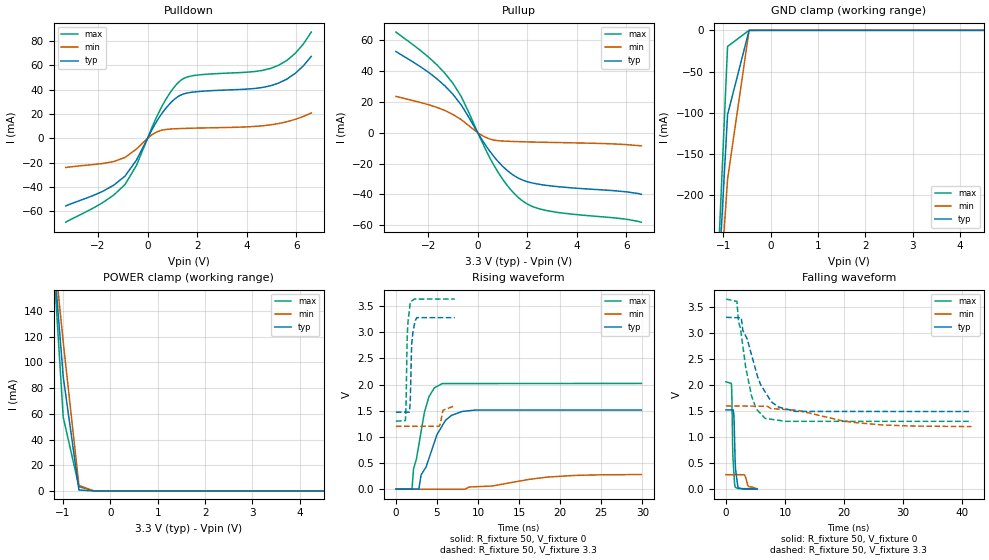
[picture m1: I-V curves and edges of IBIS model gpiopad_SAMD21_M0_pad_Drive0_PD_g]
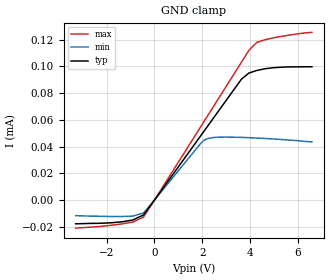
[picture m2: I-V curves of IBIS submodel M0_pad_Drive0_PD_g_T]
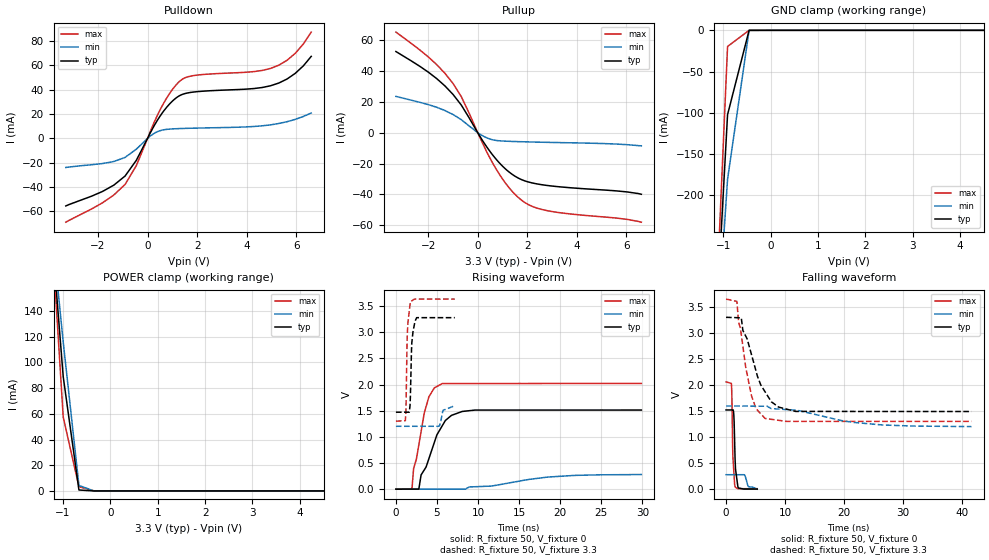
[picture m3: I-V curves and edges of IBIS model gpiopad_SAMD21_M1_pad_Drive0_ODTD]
|   - ATMEL Microcontrollers -
|   IBIS model for SAMD21_QFN32
[IBIS Ver]   4.2
[Comment char]  |_char
[File Name]   samd21_3m32.ibs
[File Rev]   1.1
[Date]   16-SEP-2015 11:10:01
[Source]   By GENIBIS V3.6 - GENerate chip IBIS model - 11-SEP-2015
[Notes]   Property of ATMEL Corporation
[Disclaimer]
                  (C) Copyright ATMEL Nantes 2002-2015
Atmel Nantes makes no warranty for the use of its products, other than
those expressly contained in the Company's standard warranty which is detailed
in Atmel's Terms and Conditions located on the Company's web site. The Company
assumes no responsability for any errors which may appear in this document.
The user is granted this license only to use the IBIS model and is not granted
rights to sell, load, rent, lease or license the IBIS model in whole or in part,
or in modified form to anyone other than user. User may modify the IBIS model
to suit its specific applications but rights to derivative works and such
modifications shall belong to Atmel Nantes.
This IBIS model is provided on an \"AS IS\" basis and Atmel Nantes makes
absolutely no warranty with respect to the information contained herein.
[Copyright]   Copyright (c) 2002-2015 by ATMEL Nantes SA
|   COMPONENT : SAMD21_QFN32
[Component]   SAMD21_QFN32
[Manufacturer]  ATMEL Nantes SAS
[Package]
| Package family : QFN
| RLC file   : V1.0
| RLCEDIT tool   : V1.11-2008/10/21
| variable   typ   min   max
R_pkg   60.38m   355.20u   128.60m
L_pkg   449.13p   11.48p   946.62p
C_pkg   37.40f   34.11f   45.49f
[Pin]   signal_name   model_name   R_pin   L_pin   C_pin
|   Real model names   <--->   IBIS model names
|   gpiopadrw100m33v3p66k25   gpiopad_SAMD21
|   gpiopadrw100m33v3p66k25   gpiopad_SAMD21
|   gpiopadrw100m33v3p66k25   gpiopad_SAMD21
|   gpiopadrw100m33v3p66k25   gpiopad_SAMD21
|   gpiopadrw100m33v3p66k25   gpiopad_SAMD21
|   gpiopadrw100m33v3p66k25   gpiopad_SAMD21
| gpiopadrtwihsmw100m33v3p66k25   gpiopadtwi_SAMD21
| gpiopadrtwihsmw100m33v3p66k25   gpiopadtwi_SAMD21
| gpiopadrtwihsmw100m33v3p66k25   gpiopadtwi_SAMD21
| gpiopadrtwihsmw100m33v3p66k25   gpiopadtwi_SAMD21
| gpiopadrtwihsmw100m33v3p66k25   gpiopadtwi_SAMD21
| gpiopadrtwihsmw100m33v3p66k25   gpiopadtwi_SAMD21
| gpiopadrtwihsmw100m33v3p66k25   gpiopadtwi_SAMD21
| gpiopadrtwihsmw100m33v3p66k25   gpiopadtwi_SAMD21
| gpiopadrtwihsmw100m33v3p66k25   gpiopadtwi_SAMD21
   1   PA00   gpiopad_SAMD21   58.78m  437.52p   36.21f
   2   PA01   gpiopad_SAMD21   41.55m  311.87p   35.26f
   3   PA02   gpiopad_SAMD21   38.58m  290.25p   35.10f
   4   PA03   gpiopad_SAMD21   46.11m  345.07p   36.41f
   5   PA04   gpiopad_SAMD21   60.68m  451.25p   37.21f
   6   PA05   gpiopad_SAMD21   43.69m  327.47p   35.38f
   7   PA06   gpiopad_SAMD21   39.92m  299.98p   35.17f
   8   PA07   gpiopad_SAMD21   55.05m  410.30p   36.00f
   9   VDDANA   POWER   23.84m  182.76p   44.60f
   10   GND   GND   67.89m  503.89p   36.71f
   11   PA08   gpiopadtwi_SAMD21   72.88m  540.28p   36.98f
   12   PA09   gpiopadtwi_SAMD21   84.32m  623.71p   37.61f
   13   PA10   gpiopad_SAMD21  103.52m  763.70p   38.66f
   14   PA11   gpiopad_SAMD21  128.60m  946.48p   40.04f
   15   PA14   gpiopad_SAMD21   67.96m  504.44p   36.71f
   16   PA15   gpiopad_SAMD21   68.94m  511.56p   36.76f
   17   PA16   gpiopadtwi_SAMD21   71.68m  531.59p   36.91f
   18   PA17   gpiopadtwi_SAMD21   51.77m  386.39p   35.82f
   19   PA18   gpiopad_SAMD21   39.85m  299.48p   35.17f
   20   PA19   gpiopad_SAMD21   48.27m  360.86p   35.63f
   21   PA22   gpiopadtwi_SAMD21   40.62m  305.11p   35.21f
   22   PA23   gpiopadtwi_SAMD21   52.06m  388.55p   35.84f
   23   PA24   NC   75.40m  558.66p   37.12f
   24   PA25   NC   80.39m  595.04p   37.39f
   25   PA27   gpiopad_SAMD21   84.39m  624.21p   37.61f
   26   RESET_N   gpiopad_SAMD21   72.13m  534.84p   36.94f
   27   PA28   gpiopad_SAMD21   67.36m  500.03p   36.68f
   28   GND   GND  357.60u   11.60p   40.63f
   29   VDDCORE   POWER   22.68m  174.35p   44.03f
   30   VDDIO   POWER   35.49m  267.74p   40.71f
   31   PA30   gpiopad_SAMD21   83.13m  614.99p   37.54f
   32   PA31   gpiopad_SAMD21  104.15m  768.30p   38.70f
|   MODEL SELECTOR : gpiopadtwi_SAMD21
[Model Selector]   gpiopadtwi_SAMD21
gpiopadtwi_SAMD21_M8_TwiOnInt_gptwih   Twi On Int TwiOnInt
gpiopadtwi_SAMD21_M7_TwiOnFp_gpitwih   Twi On Fp TwiOnFp
gpiopadtwi_SAMD21_M6_TwiOn_gpioptwih   Twi On TwiOn
gpiopadtwi_SAMD21_M5_Drive1_PU_gtwih   drive 1 PU
gpiopadtwi_SAMD21_M4_Drive1_ODTdtwih   drive 1 ODT disabled
gpiopadtwi_SAMD21_M3_Drive1_NOPUtwih   drive 1 NOPU
gpiopadtwi_SAMD21_M2_Drive0_PU_gtwih   drive 0 PU
gpiopadtwi_SAMD21_M1_Drive0_ODTdtwih   drive 0 ODT disabled
gpiopadtwi_SAMD21_M0_Drive0_NOPUtwih   drive 0 NOPU
|   MODEL SELECTOR : gpiopad_SAMD21
[Model Selector]   gpiopad_SAMD21
gpiopad_SAMD21_M5_pad_Drive1_PU_g   drive 1 PU
gpiopad_SAMD21_M4_pad_Drive1_ODTD   drive 1 ODT Disabled
gpiopad_SAMD21_M3_pad_Drive1_PD_g   drive 1 PD
gpiopad_SAMD21_M2_pad_Drive0_PU_g   drive 0 PU
gpiopad_SAMD21_M1_pad_Drive0_ODTD   drive 0 ODT Disabled
gpiopad_SAMD21_M0_pad_Drive0_PD_g   drive 0 PD
| Models and submodels in the file (23): gpiopad_SAMD21_M0_pad_Drive0_PD_g (I/O), M0_pad_Drive0_PD_g_T (Dynamic_clamp), gpiopad_SAMD21_M1_pad_Drive0_ODTD (I/O), gpiopad_SAMD21_M2_pad_Drive0_PU_g (I/O), M2_pad_Drive0_PU_g_T (Dynamic_clamp), gpiopad_SAMD21_M3_pad_Drive1_PD_g (I/O), M3_pad_Drive1_PD_g_T (Dynamic_clamp), gpiopad_SAMD21_M4_pad_Drive1_ODTD (I/O), gpiopad_SAMD21_M5_pad_Drive1_PU_g (I/O), M5_pad_Drive1_PU_g_T (Dynamic_clamp), gpiopadtwi_SAMD21_M0_Drive0_NOPUtwih (I/O), M0_Drive0_NOPUtwih_T (Dynamic_clamp), gpiopadtwi_SAMD21_M1_Drive0_ODTdtwih (I/O), gpiopadtwi_SAMD21_M2_Drive0_PU_gtwih (I/O), M2_Drive0_PU_gtwih_T (Dynamic_clamp), gpiopadtwi_SAMD21_M3_Drive1_NOPUtwih (I/O), M3_Drive1_NOPUtwih_T (Dynamic_clamp), gpiopadtwi_SAMD21_M4_Drive1_ODTdtwih (I/O), gpiopadtwi_SAMD21_M5_Drive1_PU_gtwih (I/O), M5_Drive1_PU_gtwih_T (Dynamic_clamp), gpiopadtwi_SAMD21_M6_TwiOn_gpioptwih (I/O_open_sink), gpiopadtwi_SAMD21_M7_TwiOnFp_gpitwih (I/O_open_sink), gpiopadtwi_SAMD21_M8_TwiOnInt_gptwih (I/O_open_sink)
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|   MODEL : gpiopad_SAMD21_M0_pad_Drive0_PD_g
[Model] gpiopad_SAMD21_M0_pad_Drive0_PD_g
Model_type I/O
Vinl  =  0.99
Vinh  =  2.31
Vmeas =  1.650
| Capacitance   typ   min   max
C_comp   1.45231p   1.42406p   1.52865p
| Variables   typ   min   max
[GND Clamp Reference]   0   0   0
[POWER Clamp Reference]   3.3   1.6   3.65
[Pulldown Reference]   0   0   0
[Pullup Reference]   3.3   1.6   3.65
[Temperature Range]   25   105   -40
[Voltage Range]   3.3   1.6   3.65
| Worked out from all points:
|   slope of the pulldown table from 0 to 0.495 V, typ, clamps not added: 27.5 ohm
|   slope of the pullup table from 0 to 0.495 V, typ, clamps not added: 40.8 ohm
|   falling waveform, R_fixture 50, V_fixture 0: 20-80 % time 310ps typ, 447ps min, 268ps max; typ from 1.52 V to 0.005 V
|   falling waveform, R_fixture 50, V_fixture 3.3: 20-80 % time 3.37ns typ, 10.2ns min, 2.19ns max; typ from 3.3 V to 1.49 V
|   rising waveform, R_fixture 50, V_fixture 0: 20-80 % time 2.45ns typ, 6.98ns min, 1.57ns max; typ from 0 V to 1.51 V
|   rising waveform, R_fixture 50, V_fixture 3.3: 20-80 % time 243ps typ, 444ps min, 206ps max; typ from 1.47 V to 3.28 V
[GND Clamp]
| Voltage   I(typ)   I(min)   I(max)
-3.3V     -2.648A    -2.29A     -3.229A
-1.364V   -582.6mA   -574.2mA   -618.1mA
-909.1mV  -102.2mA   -180.5mA   -19.58mA
-454.5mV  -21.35uA   -51.34uA   -12.12uA
6.6V      0A         0A         0A
[POWER Clamp]
| Voltage   I(typ)   I(min)   I(max)
-3.3V     1.364A     1.145A     1.657A
-1.327V   242.2mA    237.8mA    253.7mA
-995.5mV  88.95mA    115.9mA    57.49mA
-663.6mV  729.7uA    4.271mA    3.277mA
-350mV    1.89uA     6.551uA    83.14uA
6.6V      0A         0A         0A
[Pulldown]
| Voltage   I(typ)   I(min)   I(max)
-3.3V     -55.55mA   -23.94mA   -68.88mA
-1.818V   -43.63mA   -20.7mA    -52.94mA
-909.1mV  -30.98mA   -15.68mA   -37.89mA
-454.5mV  -18.04mA   -8.89mA    -22.41mA
154.7mV   6.272mA    2.59mA     7.905mA
567.2mV   20.14mA    6.629mA    25.86mA
979.7mV   30.15mA    7.712mA    39.51mA
1.341V    35.55mA    8.051mA    47.68mA
1.959V    38.25mA    8.397mA    51.83mA
4.959V    43.17mA    11.07mA    57.42mA
5.955V    53.35mA    15.56mA    69.8mA
6.6V      67.29mA    20.81mA    87.26mA
[Pullup]
| Voltage   I(typ)   I(min)   I(max)
-3.3V     52.59mA    23.53mA    65.18mA
-1.991V   39.2mA     18.18mA    49.05mA
-1.327V   30.39mA    14.41mA    38.57mA
-995.5mV  24.79mA    11.78mA    31.87mA
-663.6mV  17.93mA    8.464mA    23.38mA
103.1mV   -2.756mA   -1.095mA   -3.561mA
670.3mV   -15.78mA   -4.81mA    -21.55mA
1.238V    -25.1mA    -5.553mA   -35.09mA
1.753V    -30.28mA   -5.829mA   -43.5mA
2.217V    -32.6mA    -6.025mA   -47.84mA
2.888V    -34.34mA   -6.261mA   -50.75mA
6.6V      -39.86mA   -8.525mA   -57.96mA
[Ramp]
dV/dt_r   0.913465/2.46764n  0.168178/6.98667n  1.23694/1.61372n
dV/dt_f   1.09661/3.43885n  0.238316/10.2022n  1.41004/2.19264n
R_load = 50
[Falling Waveform]
R_fixture = 50
V_fixture = 0
V_fixture_min = 0
V_fixture_max = 0
| Time   V(typ)   V(min)   V(max)
0s        1.522V     280.3mV    2.062V
901.1ps   1.522V     280.3mV    2.032V
986.8ps   1.522V     280.3mV    1.787V
1.12ns    1.522V     280.3mV    805mV
1.162ns   1.522V     280.3mV    621.2mV
1.372ns   1.29V      280.3mV    243.8mV
1.559ns   507.4mV    280.3mV    39.67mV
2.089ns   25.99mV    280.3mV    11.94mV
3.126ns   4.929mV    277.7mV    11.9mV
5.285ns   4.899mV    2.701mV    11.83mV
[Falling Waveform]
R_fixture = 50
V_fixture = 3.3
V_fixture_min = 1.6
V_fixture_max = 3.65
| Time   V(typ)   V(min)   V(max)
0s        3.3V       1.6V       3.65V
1.842ns   3.293V     1.598V     3.605V
2.124ns   3.292V     1.598V     3.206V
2.584ns   3.29V      1.598V     2.971V
2.851ns   3.049V     1.597V     2.747V
4.322ns   2.582V     1.596V     1.791V
6.634ns   1.868V     1.594V     1.359V
11.79ns   1.494V     1.519V     1.304V
21.69ns   1.494V     1.282V     1.304V
41.63ns   1.492V     1.203V     1.303V
[Rising Waveform]
R_fixture = 50
V_fixture = 0
V_fixture_min = 0
V_fixture_max = 0
| Time   V(typ)   V(min)   V(max)
0s        2.582nV    16.82nV    2.172nV
1.925ns   1.212mV    16.82nV    778.4uV
2.149ns   1.353mV    16.82nV    392.5mV
2.79ns    1.757mV    16.82nV    849mV
3.065ns   272.6mV    16.82nV    1.101V
4.022ns   587mV      16.82nV    1.77V
5.643ns   1.213V     16.82nV    2.02V
6.758ns   1.411V     16.82nV    2.02V
9.62ns    1.513V     46.47mV    2.02V
29.88ns   1.513V     279.7mV    2.023V
[Rising Waveform]
R_fixture = 50
V_fixture = 3.3
V_fixture_min = 1.6
V_fixture_max = 3.65
| Time   V(typ)   V(min)   V(max)
0s        1.472V     1.203V     1.3V
1.147ns   1.472V     1.203V     1.311V
1.24ns    1.472V     1.203V     1.655V
1.39ns    1.472V     1.203V     2.982V
1.758ns   1.76V      1.203V     3.584V
1.931ns   2.794V     1.203V     3.602V
2.527ns   3.281V     1.203V     3.636V
5.244ns   3.281V     1.203V     3.636V
5.754ns   3.281V     1.51V      3.636V
7.17ns    3.281V     1.596V     3.636V
[Add Submodel]
| Submodel Name Mode
M0_pad_Drive0_PD_g_T Non-Driving
| Submodel
[Submodel]  M0_pad_Drive0_PD_g_T
Submodel_type Dynamic_clamp
[GND Clamp]
| Voltage   I(typ)   I(min)   I(max)
-3.3V     -17.64uA   -11.56uA   -20.93uA
-1.364V   -16.21uA   -12.22uA   -17.76uA
-909.1mV  -14.89uA   -11.95uA   -16.44uA
-454.5mV  -11.05uA   -9.587uA   -12.61uA
2.062V    51.2uA     44.52uA    58.37uA
2.527V    62.72uA    46.91uA    71.5uA
3.65V     90.56uA    46.97uA    103.3uA
3.964V    95.13uA    46.73uA    112.2uA
4.295V    97.03uA    46.43uA    118uA
4.627V    98.26uA    46.13uA    120uA
5.291V    99.42uA    45.42uA    122.4uA
6.6V      99.78uA    43.54uA    125.5uA
|   MODEL : gpiopad_SAMD21_M1_pad_Drive0_ODTD
[Model] gpiopad_SAMD21_M1_pad_Drive0_ODTD
Model_type I/O
Vinl  =  0.99
Vinh  =  2.31
Vmeas =  1.650
| Capacitance   typ   min   max
C_comp   1.45231p   1.42406p   1.52865p
| Variables   typ   min   max
[GND Clamp Reference]   0   0   0
[POWER Clamp Reference]   3.3   1.6   3.65
[Pulldown Reference]   0   0   0
[Pullup Reference]   3.3   1.6   3.65
[Temperature Range]   25   105   -40
[Voltage Range]   3.3   1.6   3.65
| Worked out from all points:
|   slope of the pulldown table from 0 to 0.495 V, typ, clamps not added: 27.5 ohm
|   slope of the pullup table from 0 to 0.495 V, typ, clamps not added: 40.8 ohm
|   falling waveform, R_fixture 50, V_fixture 0: 20-80 % time 310ps typ, 447ps min, 268ps max; typ from 1.52 V to 0.005 V
|   falling waveform, R_fixture 50, V_fixture 3.3: 20-80 % time 3.37ns typ, 10.2ns min, 2.19ns max; typ from 3.3 V to 1.49 V
|   rising waveform, R_fixture 50, V_fixture 0: 20-80 % time 2.45ns typ, 6.98ns min, 1.57ns max; typ from 0 V to 1.51 V
|   rising waveform, R_fixture 50, V_fixture 3.3: 20-80 % time 243ps typ, 444ps min, 206ps max; typ from 1.47 V to 3.28 V
[GND Clamp]
| Voltage   I(typ)   I(min)   I(max)
-3.3V     -2.648A    -2.29A     -3.229A
-1.364V   -582.6mA   -574.2mA   -618.1mA
-909.1mV  -102.2mA   -180.5mA   -19.58mA
-454.5mV  -21.35uA   -51.34uA   -12.12uA
6.6V      0A         0A         0A
[POWER Clamp]
| Voltage   I(typ)   I(min)   I(max)
-3.3V     1.364A     1.145A     1.657A
-1.327V   242.2mA    237.8mA    253.7mA
-995.5mV  88.95mA    115.9mA    57.49mA
-663.6mV  729.7uA    4.271mA    3.277mA
-350mV    1.89uA     6.551uA    83.14uA
6.6V      0A         0A         0A
[Pulldown]
| Voltage   I(typ)   I(min)   I(max)
-3.3V     -55.55mA   -23.94mA   -68.88mA
-1.818V   -43.63mA   -20.7mA    -52.94mA
-909.1mV  -30.98mA   -15.68mA   -37.89mA
-454.5mV  -18.04mA   -8.89mA    -22.41mA
154.7mV   6.272mA    2.59mA     7.905mA
567.2mV   20.14mA    6.629mA    25.86mA
979.7mV   30.15mA    7.712mA    39.51mA
1.341V    35.55mA    8.051mA    47.68mA
1.959V    38.25mA    8.397mA    51.83mA
4.959V    43.17mA    11.07mA    57.42mA
5.955V    53.35mA    15.56mA    69.8mA
6.6V      67.29mA    20.81mA    87.26mA
[Pullup]
| Voltage   I(typ)   I(min)   I(max)
-3.3V     52.59mA    23.53mA    65.18mA
-1.991V   39.2mA     18.18mA    49.05mA
-1.327V   30.39mA    14.41mA    38.57mA
-995.5mV  24.79mA    11.78mA    31.87mA
-663.6mV  17.93mA    8.464mA    23.38mA
103.1mV   -2.756mA   -1.095mA   -3.561mA
670.3mV   -15.78mA   -4.81mA    -21.55mA
1.238V    -25.1mA    -5.553mA   -35.09mA
1.753V    -30.28mA   -5.829mA   -43.5mA
2.217V    -32.6mA    -6.025mA   -47.84mA
2.888V    -34.34mA   -6.261mA   -50.75mA
6.6V      -39.86mA   -8.525mA   -57.96mA
[Ramp]
dV/dt_r   0.913465/2.46764n  0.168178/6.98667n  1.23694/1.61372n
dV/dt_f   1.09661/3.43885n  0.238316/10.2022n  1.41004/2.19264n
R_load = 50
[Falling Waveform]
R_fixture = 50
V_fixture = 0
V_fixture_min = 0
V_fixture_max = 0
| Time   V(typ)   V(min)   V(max)
0s        1.522V     280.3mV    2.062V
901.1ps   1.522V     280.3mV    2.032V
986.8ps   1.522V     280.3mV    1.787V
1.12ns    1.522V     280.3mV    805mV
1.162ns   1.522V     280.3mV    621.2mV
1.372ns   1.29V      280.3mV    243.8mV
1.559ns   507.4mV    280.3mV    39.67mV
2.089ns   25.99mV    280.3mV    11.94mV
3.126ns   4.929mV    277.7mV    11.9mV
5.285ns   4.899mV    2.701mV    11.83mV
[Falling Waveform]
R_fixture = 50
V_fixture = 3.3
V_fixture_min = 1.6
V_fixture_max = 3.65
| Time   V(typ)   V(min)   V(max)
0s        3.3V       1.6V       3.65V
1.842ns   3.293V     1.598V     3.605V
2.124ns   3.292V     1.598V     3.206V
2.584ns   3.29V      1.598V     2.971V
2.851ns   3.049V     1.597V     2.747V
4.322ns   2.582V     1.596V     1.791V
6.634ns   1.868V     1.594V     1.359V
11.79ns   1.494V     1.519V     1.304V
21.69ns   1.494V     1.282V     1.304V
41.63ns   1.492V     1.203V     1.303V
[Rising Waveform]
R_fixture = 50
V_fixture = 0
V_fixture_min = 0
V_fixture_max = 0
| Time   V(typ)   V(min)   V(max)
0s        2.582nV    16.82nV    2.172nV
1.925ns   1.212mV    16.82nV    778.4uV
2.149ns   1.353mV    16.82nV    392.5mV
2.79ns    1.757mV    16.82nV    849mV
3.065ns   272.6mV    16.82nV    1.101V
4.022ns   587mV      16.82nV    1.77V
5.643ns   1.213V     16.82nV    2.02V
6.758ns   1.411V     16.82nV    2.02V
9.62ns    1.513V     46.47mV    2.02V
29.88ns   1.513V     279.7mV    2.023V
[Rising Waveform]
R_fixture = 50
V_fixture = 3.3
V_fixture_min = 1.6
V_fixture_max = 3.65
| Time   V(typ)   V(min)   V(max)
0s        1.472V     1.203V     1.3V
1.147ns   1.472V     1.203V     1.311V
1.24ns    1.472V     1.203V     1.655V
1.39ns    1.472V     1.203V     2.982V
1.758ns   1.76V      1.203V     3.584V
1.931ns   2.794V     1.203V     3.602V
2.527ns   3.281V     1.203V     3.636V
5.244ns   3.281V     1.203V     3.636V
5.754ns   3.281V     1.51V      3.636V
7.17ns    3.281V     1.596V     3.636V
